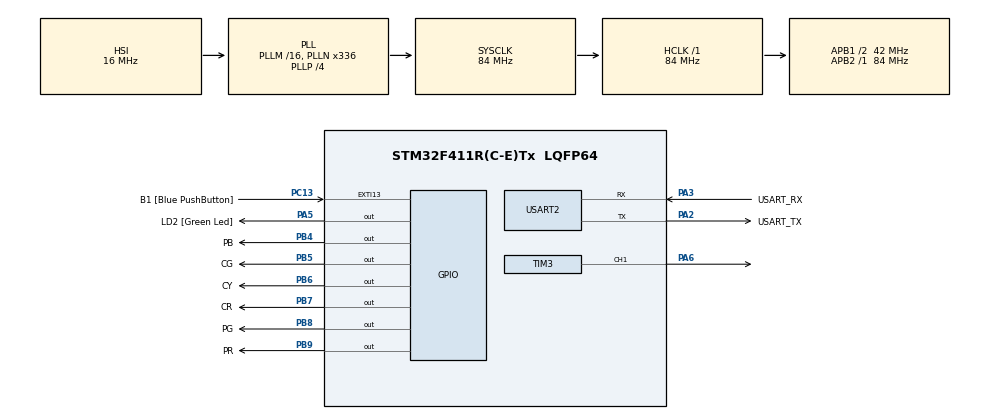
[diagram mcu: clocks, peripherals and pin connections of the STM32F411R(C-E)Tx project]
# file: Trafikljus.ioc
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Mcu.Family=STM32F4
Mcu.Name=STM32F411R(C-E)Tx
Mcu.Package=LQFP64
NVIC.EXTI15_10_IRQn=true\:0\:0\:false\:false\:true\:true\:true\:true
NVIC.PriorityGroup=NVIC_PRIORITYGROUP_0
PA13.GPIO_Label=TMS
PA13.Mode=Serial_Wire
PA13.Signal=SYS_JTMS-SWDIO
PA14.GPIO_Label=TCK
PA14.Mode=Serial_Wire
PA14.Signal=SYS_JTCK-SWCLK
PA2.GPIO_Label=USART_TX
PA2.Mode=Asynchronous
PA2.Signal=USART2_TX
PA3.GPIO_Label=USART_RX
PA3.Mode=Asynchronous
PA3.Signal=USART2_RX
PA5.GPIO_Label=LD2 [Green Led]
PA5.Signal=GPIO_Output
PA6.Signal=S_TIM3_CH1
PB3.GPIO_Label=SWO
PB3.Signal=SYS_JTDO-SWO
PB4.GPIO_Label=PB
PB4.Signal=GPIO_Output
PB5.GPIO_Label=CG
PB5.Signal=GPIO_Output
PB6.GPIO_Label=CY
PB6.Signal=GPIO_Output
PB7.GPIO_Label=CR
PB7.Signal=GPIO_Output
PB8.GPIO_Label=PG
PB8.Signal=GPIO_Output
PB9.GPIO_Label=PR
PB9.Signal=GPIO_Output
PC13-ANTI_TAMP.GPIO_Label=B1 [Blue PushButton]
PC13-ANTI_TAMP.GPIO_ModeDefaultEXTI=GPIO_MODE_IT_FALLING
PC13-ANTI_TAMP.Signal=GPXTI13
PC14-OSC32_IN.Mode=LSE-External-Oscillator
PC14-OSC32_IN.Signal=RCC_OSC32_IN
PC15-OSC32_OUT.Mode=LSE-External-Oscillator
PC15-OSC32_OUT.Signal=RCC_OSC32_OUT
PH0\ -\ OSC_IN.Mode=HSE-External-Clock-Source
PH0\ -\ OSC_IN.Signal=RCC_OSC_IN
PH1\ -\ OSC_OUT.Mode=HSE-External-Clock-Source
PH1\ -\ OSC_OUT.Signal=RCC_OSC_OUT
ProjectManager.HeapSize=0x200
ProjectManager.StackSize=0x400
ProjectManager.TargetToolchain=STM32CubeIDE
RCC.48MHZClocksFreq_Value=84000000
RCC.AHBFreq_Value=84000000
RCC.APB1CLKDivider=RCC_HCLK_DIV2
RCC.APB1Freq_Value=42000000
RCC.APB1TimFreq_Value=84000000
RCC.APB2Freq_Value=84000000
RCC.APB2TimFreq_Value=84000000
RCC.CortexFreq_Value=84000000
RCC.FLatency-AdvancedSettings=FLASH_LATENCY_2
RCC.HCLKFreq_Value=84000000
RCC.HSE_VALUE=8000000
RCC.HSI_VALUE=16000000
RCC.PLLN=336
RCC.PLLP=RCC_PLLP_DIV4
RCC.SYSCLKFreq_VALUE=84000000
RCC.SYSCLKSource=RCC_SYSCLKSOURCE_PLLCLK
RCC.VCOOutputFreq_Value=336000000
SH.S_TIM3_CH1.0=TIM3_CH1,PWM Generation1 CH1
TIM3.Channel-PWM\ Generation1\ CH1=TIM_CHANNEL_1
USART2.VirtualMode=VM_ASYNC
VP_TIM3_VS_ClockSourceINT.Mode=Internal
board=NUCLEO-F411RE

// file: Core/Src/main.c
/* USER CODE BEGIN Header */
/**
  ******************************************************************************
  * @file           : main.c
  * @brief          : Main program body
  ******************************************************************************
  * @attention
  *
  * Copyright (c) 2023 STMicroelectronics.
  * All rights reserved.
  *
  * This software is licensed under terms that can be found in the LICENSE file
  * in the root directory of this software component.
  * If no LICENSE file comes with this software, it is provided AS-IS.
  *
  ******************************************************************************
  */
/* USER CODE END Header */
#include "main.h"

/* USER CODE BEGIN Includes */
#include "abuzz.h"
/* USER CODE END Includes */

TIM_HandleTypeDef htim3;

UART_HandleTypeDef huart2;

/* USER CODE BEGIN PV */
enum event
{
	ev_none = 0,
	ev_button_push,
	ev_state_timeout,
	ev_error = -99
};

#define EVQ_SIZE 10

enum event evq[ EVQ_SIZE ];
int 	   evq_count 	= 0;
int 	   evq_front_ix = 0;
int 	   evq_rear_ix 	= 0;

enum state
{
	s_init = 0,
	s_car_start,
	s_car_go,
	s_cars_stopping,
	s_cars_stopped,
	s_pushed_wait,
	s_ped_walk,
	s_ped_stop
};

int systick_count = 0;
uint32_t ticks_left_in_state = 1000;
/* USER CODE END PV */

void SystemClock_Config(void);
static void MX_GPIO_Init(void);
static void MX_USART2_UART_Init(void);
static void MX_TIM3_Init(void);
/* USER CODE BEGIN PFP */
void set_traffic_lights(enum state s);
void push_button_light_on();
void push_button_light_off();
int is_button_pressed();
void evq_push_back(enum event e);
enum event evq_pop_front();
/* USER CODE END PFP */

/* USER CODE BEGIN 0 */
void set_traffic_lights(enum state s)
{
	HAL_GPIO_WritePin(GPIOB, CR_Pin, 0);
	HAL_GPIO_WritePin(GPIOB, CY_Pin, 0);
	HAL_GPIO_WritePin(GPIOB, CG_Pin, 0);
	HAL_GPIO_WritePin(GPIOB, PR_Pin, 0);
	HAL_GPIO_WritePin(GPIOB, PG_Pin, 0);
	switch(s) {
		case s_init:
			//111 11
			HAL_GPIO_WritePin(GPIOB, CR_Pin, 1);
			HAL_GPIO_WritePin(GPIOB, CY_Pin, 1);
			HAL_GPIO_WritePin(GPIOB, CG_Pin, 1);
			HAL_GPIO_WritePin(GPIOB, PR_Pin, 1);
			HAL_GPIO_WritePin(GPIOB, PG_Pin, 1);
		break;
		case s_car_start:
			//110 10
			HAL_GPIO_WritePin(GPIOB, CR_Pin, 1);
			HAL_GPIO_WritePin(GPIOB, CY_Pin, 1);
			HAL_GPIO_WritePin(GPIOB, PR_Pin, 1);
		break;
		case s_car_go:
			//001 10
			HAL_GPIO_WritePin(GPIOB, CG_Pin, 1);
			HAL_GPIO_WritePin(GPIOB, PR_Pin, 1);
		break;
		case s_cars_stopping:
			//010 10
			HAL_GPIO_WritePin(GPIOB, CY_Pin, 1);
			HAL_GPIO_WritePin(GPIOB, PR_Pin, 1);
		break;
		case s_cars_stopped:
			//100 10
			HAL_GPIO_WritePin(GPIOB, CR_Pin, 1);
			HAL_GPIO_WritePin(GPIOB, PR_Pin, 1);
		break;
		case s_pushed_wait:
			//001 10
			HAL_GPIO_WritePin(GPIOB, CG_Pin, 1);
			HAL_GPIO_WritePin(GPIOB, PR_Pin, 1);
		break;
		case s_ped_walk:
			//100 01
			HAL_GPIO_WritePin(GPIOB, CR_Pin, 1);
			HAL_GPIO_WritePin(GPIOB, PG_Pin, 1);
		break;
		case s_ped_stop:
			//100 10
			HAL_GPIO_WritePin(GPIOB, CR_Pin, 1);
			HAL_GPIO_WritePin(GPIOB, PR_Pin, 1);
		break;
		default:
			//00000
			HAL_GPIO_WritePin(GPIOB, CR_Pin, 0);
			HAL_GPIO_WritePin(GPIOB, CY_Pin, 0);
			HAL_GPIO_WritePin(GPIOB, CG_Pin, 1);
			HAL_GPIO_WritePin(GPIOB, PR_Pin, 0);
			HAL_GPIO_WritePin(GPIOB, PG_Pin, 1);
		break;
	}
}
void push_button_light_on()
{
	HAL_GPIO_WritePin(GPIOB, PB_Pin, 1);
}
void push_button_light_off()
{
	HAL_GPIO_WritePin(GPIOB, PB_Pin, 0);
}

int is_button_pressed()
{
    uint32_t reg_reading = GPIOC->IDR;
    if((reg_reading & 1 << 13) == 0)
        return 1;
    else
        return 0;
}

void evq_push_back(enum event e)
{
	//if queue is full, ignore e
	if (evq_count < EVQ_SIZE){
		evq[evq_rear_ix] = e;
		evq_rear_ix++;
		evq_rear_ix%= EVQ_SIZE;
		evq_count++;
	}
}
enum event evq_pop_front()
{
	enum event e = ev_none;
	if (evq_count > 0)
	{
		e = evq[evq_front_ix];
		evq[evq_front_ix] = ev_error;
		evq_front_ix++;
		evq_front_ix %= EVQ_SIZE;
		evq_count--;
	}
	return e;
}

void my_systick_handler()
{
	systick_count++;
	if (systick_count == ticks_left_in_state)
	{
		HAL_GPIO_TogglePin(LD2_GPIO_Port, LD2_Pin);
		evq_push_back(ev_state_timeout);
		systick_count = 0;
	}
}

void HAL_GPIO_EXTI_Callback(uint16_t GPIO_Pin)
{
	evq_push_back(ev_button_push);
}
/* USER CODE END 0 */

int main(void)
{
  /* USER CODE BEGIN 1 */
	enum state st = s_init;
	enum event ev = ev_none;
	//uint32_t ticks_left_in_state;
	//uint32_t curr_tick;
	//uint32_t last_tick;
  /* USER CODE END 1 */

  /* MCU Configuration--------------------------------------------------------*/

  /* Reset of all peripherals, Initializes the Flash interface and the Systick. */
  HAL_Init();

  /* Configure the system clock */
  SystemClock_Config();

  /* Initialize all configured peripherals */
  MX_GPIO_Init();
  MX_USART2_UART_Init();
  MX_TIM3_Init();

  /* Infinite loop */
  /* USER CODE BEGIN WHILE */
  //int curr_press = is_button_pressed();
  //int last_press = curr_press;
  set_traffic_lights(st);
  //last_tick = HAL_GetTick();
  abuzz_start();
  while (1)
  {
	  ev = evq_pop_front();
	  /*
	  curr_press = is_button_pressed();
	  if (curr_press != last_press) {
		  ev = ev_button_push;
		  push_button_light_on();
	  }
	  curr_tick = HAL_GetTick();

	  if (curr_tick != last_tick){
		  ticks_left_in_state--;
	  }

	  if (ticks_left_in_state == 0) {
		  ev = ev_state_timeout;
	  }
	  */

	  switch(st) {
		case s_init:
			//111 11
			if (ev == ev_button_push){
				ev = ev_none;
				st = s_cars_stopped;
				set_traffic_lights(st);
				ticks_left_in_state = 2000;
			}

		break;
		case s_car_start:
			//110 10
			if (ev == ev_state_timeout){
				st = s_car_go;
				ticks_left_in_state = 100;
				ev = ev_none;
				set_traffic_lights(st);
			}

		break;
		case s_car_go:
			//001 10
			if (ev == ev_button_push){
				st = s_pushed_wait;
				ticks_left_in_state = 2000;
				ev = ev_none;
				set_traffic_lights(st);
			}

		break;
		case s_cars_stopping:
			//010 10
			if (ev == ev_state_timeout){
				st = s_cars_stopped;
				ticks_left_in_state = 6000;
				ev = ev_none;
				set_traffic_lights(st);
				push_button_light_off();
			}

		break;
		case s_cars_stopped:
			//100 10
			if (ev == ev_state_timeout){
				st = s_ped_walk;
				ticks_left_in_state = 6000;
				ev = ev_none;
				set_traffic_lights(st);
				abuzz_p_short();
			}

		break;
		case s_pushed_wait:
			//001 10
			if (ev == ev_state_timeout){
				st = s_cars_stopping;
				ticks_left_in_state = 1000;
				ev = ev_none;
				set_traffic_lights(st);
				push_button_light_on();
			}

		break;
		case s_ped_walk:
			//100 01
			if (ev == ev_state_timeout){
				st = s_ped_stop;
				ticks_left_in_state = 2000;
				ev = ev_none;
				set_traffic_lights(st);
				abuzz_p_long();
			}

		break;
		case s_ped_stop:
			//100 10
			if (ev == ev_state_timeout){
				st = s_car_start;
				ticks_left_in_state = 2000;
				ev = ev_none;
				set_traffic_lights(st);
			}

		break;
		default:
			//00000
			if (ev == ev_state_timeout){
				st = s_cars_stopped;
				ticks_left_in_state = 2000;
				ev = ev_none;
				set_traffic_lights(st);
			}

		break;
	  	}
	  //last_tick = curr_tick;
	  //last_press = curr_press;
    /* USER CODE END WHILE */

  }
}

void SystemClock_Config(void)
{
  RCC_OscInitTypeDef RCC_OscInitStruct = {0};
  RCC_ClkInitTypeDef RCC_ClkInitStruct = {0};

  /** Configure the main internal regulator output voltage
  */
  __HAL_RCC_PWR_CLK_ENABLE();
  __HAL_PWR_VOLTAGESCALING_CONFIG(PWR_REGULATOR_VOLTAGE_SCALE1);

  /** Initializes the RCC Oscillators according to the specified parameters
  * in the RCC_OscInitTypeDef structure.
  */
  RCC_OscInitStruct.OscillatorType = RCC_OSCILLATORTYPE_HSI;
  RCC_OscInitStruct.HSIState = RCC_HSI_ON;
  RCC_OscInitStruct.HSICalibrationValue = RCC_HSICALIBRATION_DEFAULT;
  RCC_OscInitStruct.PLL.PLLState = RCC_PLL_ON;
  RCC_OscInitStruct.PLL.PLLSource = RCC_PLLSOURCE_HSI;
  RCC_OscInitStruct.PLL.PLLM = 16;
  RCC_OscInitStruct.PLL.PLLN = 336;
  RCC_OscInitStruct.PLL.PLLP = RCC_PLLP_DIV4;
  RCC_OscInitStruct.PLL.PLLQ = 4;
  if (HAL_RCC_OscConfig(&RCC_OscInitStruct) != HAL_OK)
  {
    Error_Handler();
  }

  /** Initializes the CPU, AHB and APB buses clocks
  */
  RCC_ClkInitStruct.ClockType = RCC_CLOCKTYPE_HCLK|RCC_CLOCKTYPE_SYSCLK
                              |RCC_CLOCKTYPE_PCLK1|RCC_CLOCKTYPE_PCLK2;
  RCC_ClkInitStruct.SYSCLKSource = RCC_SYSCLKSOURCE_PLLCLK;
  RCC_ClkInitStruct.AHBCLKDivider = RCC_SYSCLK_DIV1;
  RCC_ClkInitStruct.APB1CLKDivider = RCC_HCLK_DIV2;
  RCC_ClkInitStruct.APB2CLKDivider = RCC_HCLK_DIV1;

  if (HAL_RCC_ClockConfig(&RCC_ClkInitStruct, FLASH_LATENCY_2) != HAL_OK)
  {
    Error_Handler();
  }
}

static void MX_TIM3_Init(void)
{

  TIM_ClockConfigTypeDef sClockSourceConfig = {0};
  TIM_MasterConfigTypeDef sMasterConfig = {0};
  TIM_OC_InitTypeDef sConfigOC = {0};

  htim3.Instance = TIM3;
  htim3.Init.Prescaler = 0;
  htim3.Init.CounterMode = TIM_COUNTERMODE_UP;
  htim3.Init.Period = 65535;
  htim3.Init.ClockDivision = TIM_CLOCKDIVISION_DIV1;
  htim3.Init.AutoReloadPreload = TIM_AUTORELOAD_PRELOAD_DISABLE;
  if (HAL_TIM_Base_Init(&htim3) != HAL_OK)
  {
    Error_Handler();
  }
  sClockSourceConfig.ClockSource = TIM_CLOCKSOURCE_INTERNAL;
  if (HAL_TIM_ConfigClockSource(&htim3, &sClockSourceConfig) != HAL_OK)
  {
    Error_Handler();
  }
  if (HAL_TIM_PWM_Init(&htim3) != HAL_OK)
  {
    Error_Handler();
  }
  sMasterConfig.MasterOutputTrigger = TIM_TRGO_RESET;
  sMasterConfig.MasterSlaveMode = TIM_MASTERSLAVEMODE_DISABLE;
  if (HAL_TIMEx_MasterConfigSynchronization(&htim3, &sMasterConfig) != HAL_OK)
  {
    Error_Handler();
  }
  sConfigOC.OCMode = TIM_OCMODE_PWM1;
  sConfigOC.Pulse = 0;
  sConfigOC.OCPolarity = TIM_OCPOLARITY_HIGH;
  sConfigOC.OCFastMode = TIM_OCFAST_DISABLE;
  if (HAL_TIM_PWM_ConfigChannel(&htim3, &sConfigOC, TIM_CHANNEL_1) != HAL_OK)
  {
    Error_Handler();
  }
  HAL_TIM_MspPostInit(&htim3);

}

static void MX_USART2_UART_Init(void)
{

  huart2.Instance = USART2;
  huart2.Init.BaudRate = 115200;
  huart2.Init.WordLength = UART_WORDLENGTH_8B;
  huart2.Init.StopBits = UART_STOPBITS_1;
  huart2.Init.Parity = UART_PARITY_NONE;
  huart2.Init.Mode = UART_MODE_TX_RX;
  huart2.Init.HwFlowCtl = UART_HWCONTROL_NONE;
  huart2.Init.OverSampling = UART_OVERSAMPLING_16;
  if (HAL_UART_Init(&huart2) != HAL_OK)
  {
    Error_Handler();
  }

}

static void MX_GPIO_Init(void)
{
  GPIO_InitTypeDef GPIO_InitStruct = {0};

  /* GPIO Ports Clock Enable */
  __HAL_RCC_GPIOC_CLK_ENABLE();
  __HAL_RCC_GPIOH_CLK_ENABLE();
  __HAL_RCC_GPIOA_CLK_ENABLE();
  __HAL_RCC_GPIOB_CLK_ENABLE();

  /*Configure GPIO pin Output Level */
  HAL_GPIO_WritePin(LD2_GPIO_Port, LD2_Pin, GPIO_PIN_RESET);

  /*Configure GPIO pin Output Level */
  HAL_GPIO_WritePin(GPIOB, PB_Pin|CG_Pin|CY_Pin|CR_Pin
                          |PG_Pin|PR_Pin, GPIO_PIN_RESET);

  /*Configure GPIO pin : B1_Pin */
  GPIO_InitStruct.Pin = B1_Pin;
  GPIO_InitStruct.Mode = GPIO_MODE_IT_FALLING;
  GPIO_InitStruct.Pull = GPIO_NOPULL;
  HAL_GPIO_Init(B1_GPIO_Port, &GPIO_InitStruct);

  /*Configure GPIO pin : LD2_Pin */
  GPIO_InitStruct.Pin = LD2_Pin;
  GPIO_InitStruct.Mode = GPIO_MODE_OUTPUT_PP;
  GPIO_InitStruct.Pull = GPIO_NOPULL;
  GPIO_InitStruct.Speed = GPIO_SPEED_FREQ_LOW;
  HAL_GPIO_Init(LD2_GPIO_Port, &GPIO_InitStruct);

  /*Configure GPIO pins : PB_Pin CG_Pin CY_Pin CR_Pin
                           PG_Pin PR_Pin */
  GPIO_InitStruct.Pin = PB_Pin|CG_Pin|CY_Pin|CR_Pin
                          |PG_Pin|PR_Pin;
  GPIO_InitStruct.Mode = GPIO_MODE_OUTPUT_PP;
  GPIO_InitStruct.Pull = GPIO_NOPULL;
  GPIO_InitStruct.Speed = GPIO_SPEED_FREQ_LOW;
  HAL_GPIO_Init(GPIOB, &GPIO_InitStruct);

  /* EXTI interrupt init*/
  HAL_NVIC_SetPriority(EXTI15_10_IRQn, 0, 0);
  HAL_NVIC_EnableIRQ(EXTI15_10_IRQn);

}

void Error_Handler(void)
{
  __disable_irq();
  while (1)
  {
  }
}
